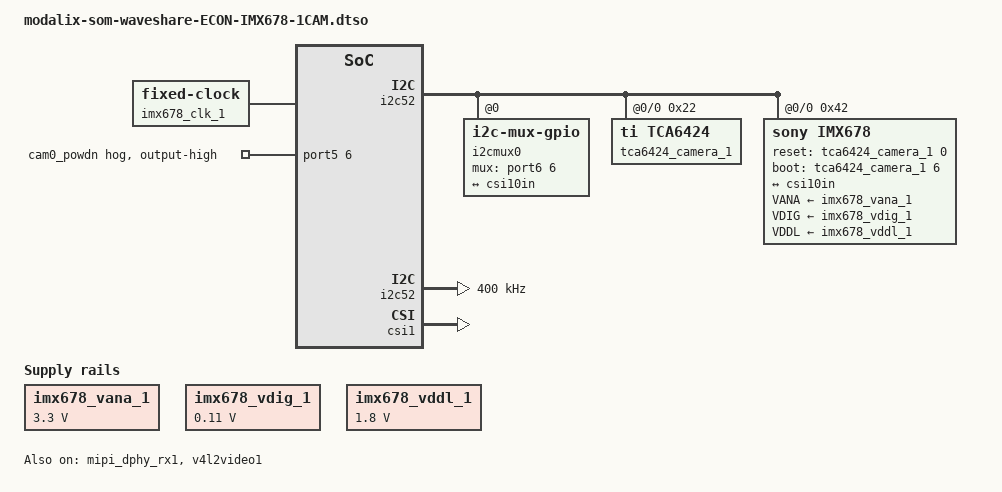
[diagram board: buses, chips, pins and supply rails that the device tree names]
// SPDX-License-Identifier: (GPL-2.0+ OR MIT)
/*
 * Copyright (c) 2026 SiMa ai
 */

/dts-v1/;
/plugin/;

&{/} {
    imx678_vana_1: csi1_fixedregulator@0 {
        compatible = "regulator-fixed";
        regulator-name = "imx678_vana_1";
        regulator-min-microvolt = <3300000>;
        regulator-max-microvolt = <3300000>;
        enable-active-high;
        startup-delay-us = <300000>;
        regulator-always-on;
    };

    imx678_vdig_1: csi1_fixedregulator@1 {
        compatible = "regulator-fixed";
        regulator-name = "imx678_vdig_1";
        regulator-min-microvolt = <110000>;
        regulator-max-microvolt = <110000>;
        regulator-always-on;
    };

    imx678_vddl_1: csi1_fixedregulator@2 {
        compatible = "regulator-fixed";
        regulator-name = "imx678_vddl_1";
        regulator-min-microvolt = <1800000>;
        regulator-max-microvolt = <1800000>;
        regulator-always-on;
    };

    imx678_clk_1: csi1_camera-clk {
        compatible = "fixed-clock";
        #clock-cells = <0>;
        clock-frequency = <24000000>;
    };

    i2cmux0: i2cmux@0 {
        compatible = "i2c-mux-gpio";
        i2c-parent = <&i2c52>;
        #address-cells = <1>;
        #size-cells = <0>;
        /* Set port6 gpio6 to GPIO_ACTIVE_LOW mode */
        mux-gpios = <&port6 6 0>;
        i2cmux0p0: i2c@0 {
            reg = <0>;
            #address-cells = <1>;
            #size-cells = <0>;
        };
    };
};

&port5 {
    cam-hog0 {
        gpio-hog;
        /* Set port5 gpio6 to GPIO_ACTIVE_HIGH mode */
        gpios = <6 0>;
        output-high;
        line-name = "cam0_powdn";
    };
};

&i2c52 {
    status = "okay";
    clock-frequency = <400000>;
    #address-cells = <1>;
    #size-cells = <0>;
};

&csi1 {
    status = "okay";
};

&axi_vdma1 {
    status = "okay";
};

&mipi_dphy_rx1 {
    status = "okay";
};

&v4l2video1 {
    status = "okay";
};

&v4l2vdma1 {
    status = "okay";
};

&csi10in {
    clock-lanes = <0>;
    data-lanes = <1 2>;
    link-frequencies = /bits/ 64 <1040000000>;
    remote-endpoint = <&cam10out>;
    clock-continuous;
};

&i2cmux0p0 {
    tca6424_camera_1: tca6424@22 {
        compatible = "ti,tca6424";
        gpio-controller;
        #gpio-cells = <2>;
        reg = <0x22>;
        status = "okay";
    };

    imx678: imx678@42 {
        compatible = "sony,imx678";
        reg = <0x42>;

        clocks = <&imx678_clk_1>;
        clock-names = "xclk";

        VANA-supply = <&imx678_vana_1>;
        VDIG-supply = <&imx678_vdig_1>;
        VDDL-supply = <&imx678_vddl_1>;

        reset-gpios = <&tca6424_camera_1 0 0>;
        boot-gpios = <&tca6424_camera_1 6 0>;

        camera_mipi_lanes = <2>;
        cam_fw_name = "imx678_cam_fw.bin";

        port@1 {
            cam10out: endpoint@0 {
                clock-lanes = <0>;
                data-lanes = <1 2>;
                link-frequencies = /bits/ 64 <1040000000>;
                remote-endpoint = <&csi10in>;
                clock-continuous;
            };
        };
    };
};
